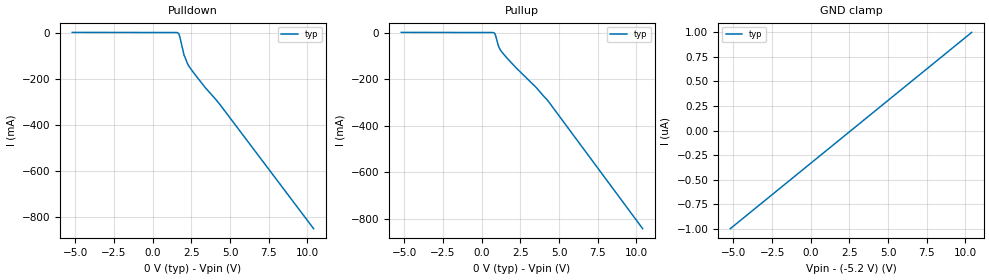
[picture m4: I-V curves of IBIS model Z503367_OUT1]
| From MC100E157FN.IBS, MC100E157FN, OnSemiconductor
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| (C) COPYRIGHT 1993-2000
| MENTOR GRAPHICS CORPORATION
| ICX STANDARD LIBRARY, ICX PROJECT MODELING,
| ICX CUSTOM MODELING, ICX VENDOR MODEL
| ALL RIGHTS RESERVED.
| THE FOLLOWING ARE TRADEMARKS OR SERVICE MARKS OF
| MENTOR GRAPHICS CORPORATION:ICX (R), ICX STANDARD
| LIBRARY(R), ICX PROJECT MODELING(R), ICX CUSTOM
| MODELING(R), qualityIBIS(TM), MODELVIEWER(TM),
| AND MODELEDITOR(TM)
| ALL COPIES OF SOFTWARE, INCLUDING BUT NOT LIMITED TO
| ANY MODIFICATIONS, ENHANCEMENTS OR DERIVATIVE WORKS,
| MUST CONTAIN ALL MENTOR GRAPHICS CORPORATION'S
| NOTICES AND LEGENDS, INCLUDING THOSE EMBEDDED IN
| SOFTWARE AND THOSE AFFIXED TO SOFTWARE MEDIUM
| AND CONTAINER, AS RECEIVED FROM MENTOR GRAPHICS
| CORPORATION.
| Model Application Version 1.89 2/18/99.
[Model] Z503367_OUT1
Model_type Output_ECL
Vref=-2.000V
Rref=50.00ohms
Cref=0.000F
Vmeas=-1.320V
C_comp 8.000pF NA NA
| variable typ   min   max
[Voltage Range] -5.200V NA NA
[POWER Clamp Reference] 0.000V NA NA
[Pullup Reference] 0.000V NA NA
[Pulldown Reference] 0.000V NA NA
[GND Clamp Reference] -5.200V NA NA
[GND Clamp]
-5.2V     -1uA       NA         NA
10.4V     1uA        NA         NA
[Pulldown]
-5.2V     487.8uA    NA         NA
1.642V    -1.943mA   NA         NA
1.697V    -7.272mA   NA         NA
1.763V    -21.32mA   NA         NA
2.034V    -100.2mA   NA         NA
2.236V    -133.4mA   NA         NA
2.344V    -146.7mA   NA         NA
3.398V    -239.6mA   NA         NA
4.321V    -310.7mA   NA         NA
10.4V     -852.6mA   NA         NA
[Pullup]
-5.2V     568.3uA    NA         NA
805.7mV   -1.693mA   NA         NA
893.3mV   -12.09mA   NA         NA
1.065V    -54.09mA   NA         NA
1.118V    -63.74mA   NA         NA
1.314V    -84.7mA    NA         NA
2.217V    -151.3mA   NA         NA
3.524V    -236.4mA   NA         NA
4.263V    -291.7mA   NA         NA
10.4V     -842.5mA   NA         NA
[POWER Clamp]
-5.2V     0A         NA         NA
10.4V     0A         NA         NA
[Ramp]
| variable typ min max
dV/dt_r 478.4m/335.9p NA NA
dV/dt_f 478.4m/303.7p NA NA
R_load = 500.0Ohms
